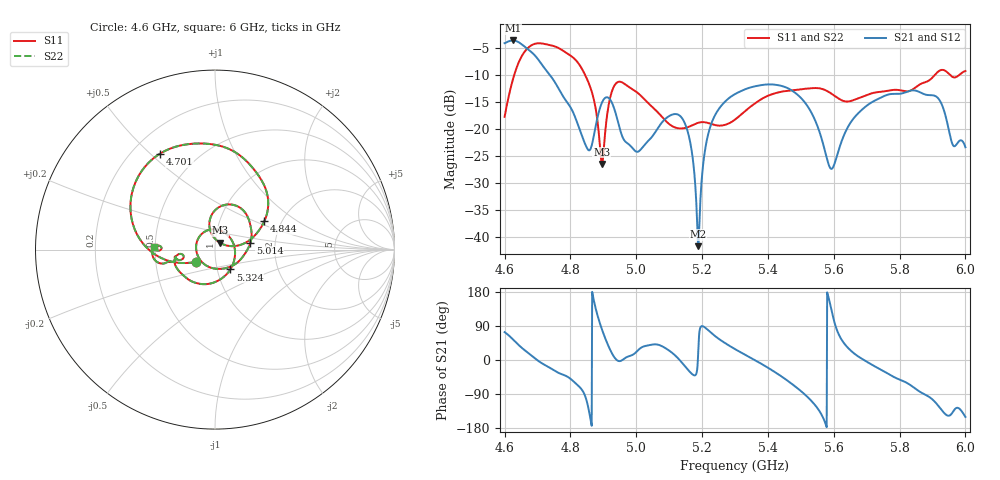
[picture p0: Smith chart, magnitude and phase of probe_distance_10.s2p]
! TOUCHSTONE file generated by CST MICROWAVE STUDIO
! Date and time: Sat Nov 30 13:10:58 2024
! Project name: test_tuning.cst
! Parameters = {airCoaxOuterDiameter=3; chamferAngle=45; chamferWidth=24; connectorLength=10; drillingHoleDiameter=4.1; feedLength=60; flareDiameter=130; flareLength=70; gratingDistance=0; gratingGap=1.90274; outletLength=30; polarizerLength=134; probe1Diameter=1.3; probe1Distance=12.5; probe1Length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
! Header version: 2024
! Port assignment regex: !\s*Touchstone port\s*([0-9]+)\s*=\s*(CST MWS port|CST DES external port|CST DES block port)\s*(.+)\s* \(\"(.*)\"\)(\s*mode\s*([0-9]+))?.*
! Touchstone port assignment:
! Touchstone port 1 = CST MWS port 1 ("Input1")
! Touchstone port 2 = CST MWS port 2 ("Input2")
# GHz S MA R 50
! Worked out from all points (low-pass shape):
!   1001 points, 4.6 GHz to 6 GHz, reference 50 ohm
!   highest |S21| = -3.68 dB at 4.625 GHz (marker M1); lowest = -41.7 dB at 5.188 GHz (marker M2)
!   |S21| within 3 dB of the highest: start of sweep to 4.695 GHz
!   lowest |S11| = -26.5 dB at 4.895 GHz (marker M3), VSWR 1.10, Z = 52.7 + j4 ohm
!   |S11| at or under -10 dB: start of sweep to 4.629 GHz; 4.844 GHz to 5.908 GHz (1.064 GHz wide, 19.8 % of centre); 5.952 GHz to 5.982 GHz (29.95 MHz wide, 0.502 % of centre)
!   |S22| runs from -26.5 to -4.2 dB; largest |S21 - S12| = 7.7e-07
!   S11 on the Smith chart (normalised r, x): 4.6 GHz: 0.80, -0.11; 4.701 GHz: 0.31, +0.53; 4.844 GHz: 1.63, +0.58; 5.014 GHz: 1.49, +0.12; 5.324 GHz: 1.15, -0.26; 6 GHz: 0.49, +0.02
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4.6  0.1289 -147.3  0.6177 73.6  0.6177 73.6  0.1289 -147.3
4.6252  0.2854 -168.8  0.6543 54.6  0.6543 54.6  0.2854 -168.8
4.663  0.5255 153.7  0.5673 24.4  0.5673 24.4  0.5255 153.7
4.7008  0.616 120.0  0.4417 -1.3  0.4417 -1.3  0.616 120.0
4.8338  0.3626 36.2  0.08765 -77.3  0.08765 -77.3  0.3626 36.2
4.8436  0.3187 30.1  0.07354 -92.8  0.07354 -92.8  0.3187 30.1
4.8954  0.04718 53.4  0.1733 81.6  0.1733 81.6  0.04718 53.4
4.936  0.257 76.7  0.1438 4.2  0.1438 4.2  0.257 76.7
5.0144  0.2014 11.1  0.06475 32.3  0.06475 32.3  0.2014 11.1
5.0676  0.1397 -34.4  0.1034 40.0  0.1034 40.0  0.1397 -34.4
5.1474  0.1016 -157.3  0.1128 -15.8  0.1128 -15.8  0.1016 -157.3
5.1698  0.1076 166.8  0.05851 -37.2  0.05851 -37.2  0.1076 166.8
5.188  0.1135 138.1  0.008232 15.3  0.008232 15.3  0.1135 138.1
5.223  0.1119 81.9  0.1 75.2  0.1 75.2  0.1119 81.9
5.3  0.1216 -28.0  0.2091 28.7  0.2091 28.7  0.1216 -28.0
5.3238  0.1399 -52.4  0.2269 17.2  0.2269 17.2  0.1399 -52.4
5.5338  0.2372 -155.7  0.1378 -109.5  0.1378 -109.5  0.2372 -155.7
5.594  0.21 -172.2  0.04268 128.5  0.04268 128.5  0.21 -172.2
5.6598  0.1838 -164.6  0.1241 18.8  0.1241 18.8  0.1838 -164.6
5.7676  0.2255 -167.7  0.2078 -37.4  0.2078 -37.4  0.2255 -167.7
5.9104  0.3222 -166.8  0.1992 -113.3  0.1992 -113.3  0.3222 -166.8
6  0.3415 177.3  0.06751 -150.1  0.06751 -150.1  0.3415 177.3
